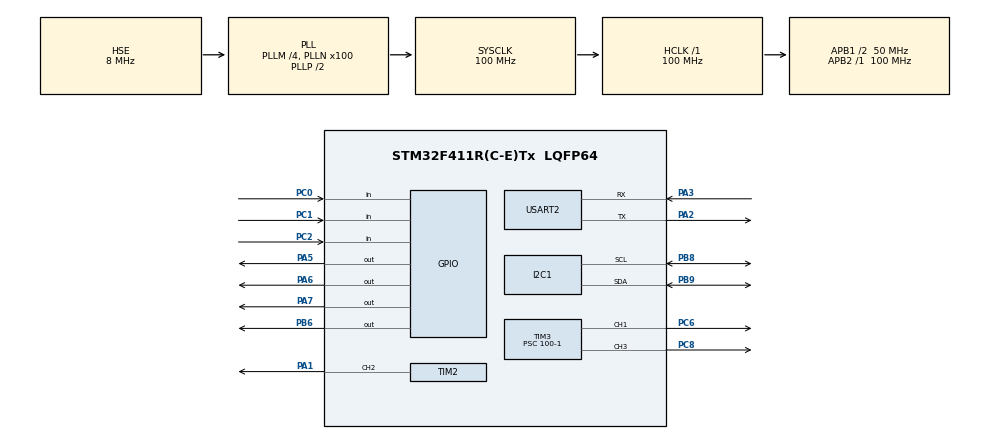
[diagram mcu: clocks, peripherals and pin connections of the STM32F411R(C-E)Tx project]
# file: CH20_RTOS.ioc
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FREERTOS.Mutexes01=lcdMutex,Dynamic,NULL,Available
FREERTOS.Queues01=btnQue,16,uint32_t,0,Dynamic,NULL,NULL;commQue,16,uint32_t,0,Dynamic,NULL,NULL
FREERTOS.Tasks01=defaultTask,0,128,StartDefaultTask,Default,NULL,Dynamic,NULL,NULL;MotorTask,0,128,StartMotorTask,Default,NULL,Dynamic,NULL,NULL;ButtonTask,0,128,StartButtonTask,Default,NULL,Dynamic,NULL,NULL;SoundTask,0,128,StartSoundTask,Default,NULL,Dynamic,NULL,NULL;CommTask,0,128,StartCommTask,Default,NULL,Dynamic,NULL,NULL
FREERTOS.configUSE_NEWLIB_REENTRANT=1
Mcu.Family=STM32F4
Mcu.Name=STM32F411R(C-E)Tx
Mcu.Package=LQFP64
NVIC.PriorityGroup=NVIC_PRIORITYGROUP_4
NVIC.TIM1_UP_TIM10_IRQn=true\:5\:0\:false\:false\:true\:false\:false\:true\:true
NVIC.TimeBase=TIM1_UP_TIM10_IRQn
NVIC.TimeBaseIP=TIM10
NVIC.USART2_IRQn=true\:5\:0\:false\:false\:true\:true\:true\:true\:true
PA1.Signal=S_TIM2_CH2
PA13.Mode=Serial_Wire
PA13.Signal=SYS_JTMS-SWDIO
PA14.Mode=Serial_Wire
PA14.Signal=SYS_JTCK-SWCLK
PA2.Mode=Asynchronous
PA2.Signal=USART2_TX
PA3.Mode=Asynchronous
PA3.Signal=USART2_RX
PA5.Signal=GPIO_Output
PA6.Signal=GPIO_Output
PA7.Signal=GPIO_Output
PB6.Signal=GPIO_Output
PB8.Mode=I2C
PB8.Signal=I2C1_SCL
PB9.Mode=I2C
PB9.Signal=I2C1_SDA
PC0.Signal=GPIO_Input
PC1.Signal=GPIO_Input
PC2.Signal=GPIO_Input
PC6.Signal=S_TIM3_CH1
PC8.Signal=S_TIM3_CH3
PH0\ -\ OSC_IN.Mode=HSE-External-Oscillator
PH0\ -\ OSC_IN.Signal=RCC_OSC_IN
PH1\ -\ OSC_OUT.Mode=HSE-External-Oscillator
PH1\ -\ OSC_OUT.Signal=RCC_OSC_OUT
ProjectManager.HeapSize=0x200
ProjectManager.StackSize=0x400
ProjectManager.TargetToolchain=STM32CubeIDE
RCC.48MHZClocksFreq_Value=50000000
RCC.AHBFreq_Value=100000000
RCC.APB1CLKDivider=RCC_HCLK_DIV2
RCC.APB1Freq_Value=50000000
RCC.APB1TimFreq_Value=100000000
RCC.APB2Freq_Value=100000000
RCC.APB2TimFreq_Value=100000000
RCC.CortexFreq_Value=100000000
RCC.HCLKFreq_Value=100000000
RCC.HSE_VALUE=8000000
RCC.HSI_VALUE=16000000
RCC.LSE_VALUE=32768
RCC.PLLM=4
RCC.PLLN=100
RCC.PLLSourceVirtual=RCC_PLLSOURCE_HSE
RCC.SYSCLKFreq_VALUE=100000000
RCC.SYSCLKSource=RCC_SYSCLKSOURCE_PLLCLK
RCC.VCOOutputFreq_Value=200000000
SH.S_TIM2_CH2.0=TIM2_CH2,PWM Generation2 CH2
SH.S_TIM3_CH1.0=TIM3_CH1,PWM Generation1 CH1
SH.S_TIM3_CH3.0=TIM3_CH3,PWM Generation3 CH3
TIM2.AutoReloadPreload=TIM_AUTORELOAD_PRELOAD_ENABLE
TIM2.Channel-PWM\ Generation2\ CH2=TIM_CHANNEL_2
TIM2.Period=1000-1
TIM2.Prescaler=100-1
TIM3.AutoReloadPreload=TIM_AUTORELOAD_PRELOAD_ENABLE
TIM3.Channel-PWM\ Generation1\ CH1=TIM_CHANNEL_1
TIM3.Channel-PWM\ Generation3\ CH3=TIM_CHANNEL_3
TIM3.Period=1000-1
TIM3.Prescaler=100-1
USART2.VirtualMode=VM_ASYNC
VP_FREERTOS_VS_CMSIS_V1.Mode=CMSIS_V1
VP_SYS_VS_tim10.Mode=TIM10
VP_TIM2_VS_ClockSourceINT.Mode=Internal
VP_TIM3_VS_ClockSourceINT.Mode=Internal
board=custom

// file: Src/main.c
/* USER CODE BEGIN Header */
/**
  ******************************************************************************
  * @file           : main.c
  * @brief          : Main program body
  ******************************************************************************
  * @attention
  *
  * Copyright (c) 2026 STMicroelectronics.
  * All rights reserved.
  *
  * This software is licensed under terms that can be found in the LICENSE file
  * in the root directory of this software component.
  * If no LICENSE file comes with this software, it is provided AS-IS.
  *
  ******************************************************************************
  */
/* USER CODE END Header */
#include "main.h"
#include "cmsis_os.h"
#include "i2c.h"
#include "tim.h"
#include "usart.h"
#include "gpio.h"

void SystemClock_Config(void);
void MX_FREERTOS_Init(void);

int main(void)
{

  /* MCU Configuration--------------------------------------------------------*/

  /* Reset of all peripherals, Initializes the Flash interface and the Systick. */
  HAL_Init();

  /* Configure the system clock */
  SystemClock_Config();

  /* Initialize all configured peripherals */
  MX_GPIO_Init();
  MX_TIM3_Init();
  MX_TIM2_Init();
  MX_USART2_UART_Init();
  MX_I2C1_Init();

  /* Call init function for freertos objects (in cmsis_os2.c) */
  MX_FREERTOS_Init();

  /* Start scheduler */
  osKernelStart();

  /* We should never get here as control is now taken by the scheduler */

  /* Infinite loop */
  while (1)
  {

  }
}

void SystemClock_Config(void)
{
  RCC_OscInitTypeDef RCC_OscInitStruct = {0};
  RCC_ClkInitTypeDef RCC_ClkInitStruct = {0};

  /** Configure the main internal regulator output voltage
  */
  __HAL_RCC_PWR_CLK_ENABLE();
  __HAL_PWR_VOLTAGESCALING_CONFIG(PWR_REGULATOR_VOLTAGE_SCALE1);

  /** Initializes the RCC Oscillators according to the specified parameters
  * in the RCC_OscInitTypeDef structure.
  */
  RCC_OscInitStruct.OscillatorType = RCC_OSCILLATORTYPE_HSE;
  RCC_OscInitStruct.HSEState = RCC_HSE_ON;
  RCC_OscInitStruct.PLL.PLLState = RCC_PLL_ON;
  RCC_OscInitStruct.PLL.PLLSource = RCC_PLLSOURCE_HSE;
  RCC_OscInitStruct.PLL.PLLM = 4;
  RCC_OscInitStruct.PLL.PLLN = 100;
  RCC_OscInitStruct.PLL.PLLP = RCC_PLLP_DIV2;
  RCC_OscInitStruct.PLL.PLLQ = 4;
  if (HAL_RCC_OscConfig(&RCC_OscInitStruct) != HAL_OK)
  {
    Error_Handler();
  }

  /** Initializes the CPU, AHB and APB buses clocks
  */
  RCC_ClkInitStruct.ClockType = RCC_CLOCKTYPE_HCLK|RCC_CLOCKTYPE_SYSCLK
                              |RCC_CLOCKTYPE_PCLK1|RCC_CLOCKTYPE_PCLK2;
  RCC_ClkInitStruct.SYSCLKSource = RCC_SYSCLKSOURCE_PLLCLK;
  RCC_ClkInitStruct.AHBCLKDivider = RCC_SYSCLK_DIV1;
  RCC_ClkInitStruct.APB1CLKDivider = RCC_HCLK_DIV2;
  RCC_ClkInitStruct.APB2CLKDivider = RCC_HCLK_DIV1;

  if (HAL_RCC_ClockConfig(&RCC_ClkInitStruct, FLASH_LATENCY_3) != HAL_OK)
  {
    Error_Handler();
  }
}

void HAL_TIM_PeriodElapsedCallback(TIM_HandleTypeDef *htim)
{
  if (htim->Instance == TIM10)
  {
    HAL_IncTick();
  }
}

void Error_Handler(void)
{
  __disable_irq();
  while (1)
  {
  }
}

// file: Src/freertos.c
/* USER CODE BEGIN Header */
/**
 ******************************************************************************
 * File Name          : freertos.c
 * Description        : Code for freertos applications
 ******************************************************************************
 * @attention
 *
 * Copyright (c) 2026 STMicroelectronics.
 * All rights reserved.
 *
 * This software is licensed under terms that can be found in the LICENSE file
 * in the root directory of this software component.
 * If no LICENSE file comes with this software, it is provided AS-IS.
 *
 ******************************************************************************
 */
/* USER CODE END Header */

#include "FreeRTOS.h"
#include "task.h"
#include "main.h"
#include "cmsis_os.h"

/* USER CODE BEGIN Includes */
#include "ap/task/motor_control_task/motor_control_task.h"
#include "ap/task/button_task/button_task.h"
#include "ap/task/sound_task/sound_task.h"
#include "ap/task/comm_task/comm_task.h"
#include "i2c.h"
#include "driver/lcd/lcd.h"
#include <stdio.h>

/* USER CODE END Includes */

osThreadId defaultTaskHandle;
osThreadId MotorTaskHandle;
osThreadId ButtonTaskHandle;
osThreadId SoundTaskHandle;
osThreadId CommTaskHandle;
osMessageQId btnQueHandle;
osMessageQId commQueHandle;
osMutexId lcdMutexHandle;

void StartDefaultTask(void const * argument);
void StartMotorTask(void const * argument);
void StartButtonTask(void const * argument);
void StartSoundTask(void const * argument);
void StartCommTask(void const * argument);

void MX_FREERTOS_Init(void); /* (MISRA C 2004 rule 8.1) */

/* GetIdleTaskMemory prototype (linked to static allocation support) */
void vApplicationGetIdleTaskMemory( StaticTask_t **ppxIdleTaskTCBBuffer, StackType_t **ppxIdleTaskStackBuffer, uint32_t *pulIdleTaskStackSize );

/* USER CODE BEGIN GET_IDLE_TASK_MEMORY */
static StaticTask_t xIdleTaskTCBBuffer;
static StackType_t xIdleStack[configMINIMAL_STACK_SIZE];

void vApplicationGetIdleTaskMemory( StaticTask_t **ppxIdleTaskTCBBuffer, StackType_t **ppxIdleTaskStackBuffer, uint32_t *pulIdleTaskStackSize )
{
	*ppxIdleTaskTCBBuffer = &xIdleTaskTCBBuffer;
	*ppxIdleTaskStackBuffer = &xIdleStack[0];
	*pulIdleTaskStackSize = configMINIMAL_STACK_SIZE;
	/* place for user code */
}
/* USER CODE END GET_IDLE_TASK_MEMORY */

void MX_FREERTOS_Init(void) {
	/* Create the mutex(es) */
	/* definition and creation of lcdMutex */
	osMutexDef(lcdMutex);
	lcdMutexHandle = osMutexCreate(osMutex(lcdMutex));

	/* Create the queue(s) */
	/* definition and creation of btnQue */
	osMessageQDef(btnQue, 16, uint32_t);
	btnQueHandle = osMessageCreate(osMessageQ(btnQue), NULL);

	/* definition and creation of commQue */
	osMessageQDef(commQue, 16, uint32_t);
	commQueHandle = osMessageCreate(osMessageQ(commQue), NULL);

	/* Create the thread(s) */
	/* definition and creation of defaultTask */
	osThreadDef(defaultTask, StartDefaultTask, osPriorityNormal, 0, 128);
	defaultTaskHandle = osThreadCreate(osThread(defaultTask), NULL);

	/* definition and creation of MotorTask */
	osThreadDef(MotorTask, StartMotorTask, osPriorityNormal, 0, 128);
	MotorTaskHandle = osThreadCreate(osThread(MotorTask), NULL);

	/* definition and creation of ButtonTask */
	osThreadDef(ButtonTask, StartButtonTask, osPriorityNormal, 0, 128);
	ButtonTaskHandle = osThreadCreate(osThread(ButtonTask), NULL);

	/* definition and creation of SoundTask */
	osThreadDef(SoundTask, StartSoundTask, osPriorityNormal, 0, 128);
	SoundTaskHandle = osThreadCreate(osThread(SoundTask), NULL);

	/* definition and creation of CommTask */
	osThreadDef(CommTask, StartCommTask, osPriorityNormal, 0, 128);
	CommTaskHandle = osThreadCreate(osThread(CommTask), NULL);

}

void StartDefaultTask(void const * argument)
{
	/* USER CODE BEGIN StartDefaultTask */
	if(osMutexWait(lcdMutexHandle, osWaitForever) == osOK){
		Lcd_init(&hi2c1);
		osMutexRelease(lcdMutexHandle);
	}
	/* Infinite loop */
	for(;;)
	{
		osDelay(1);
	}
	/* USER CODE END StartDefaultTask */
}

void StartMotorTask(void const * argument)
{
	/* USER CODE BEGIN StartMotorTask */
	motor_control_task_init();
	/* Infinite loop */
	for(;;)
	{
		motor_control_task();
		osDelay(10);
	}
	/* USER CODE END StartMotorTask */
}

void StartButtonTask(void const * argument)
{
	/* USER CODE BEGIN StartButtonTask */
	button_task_init();
	/* Infinite loop */
	for(;;)
	{
		button_task();
		osDelay(10);
	}
	/* USER CODE END StartButtonTask */
}

void StartSoundTask(void const * argument)
{
	/* USER CODE BEGIN StartSoundTask */
	sound_task_init();
	/* Infinite loop */
	for(;;)
	{
		sound_task();
		osDelay(10);
	}
	/* USER CODE END StartSoundTask */
}

void StartCommTask(void const * argument)
{
	/* USER CODE BEGIN StartCommTask */
	comm_task_init();
	/* Infinite loop */
	for(;;)
	{
		comm_task();
		osDelay(10);
	}
	/* USER CODE END StartCommTask */
}
